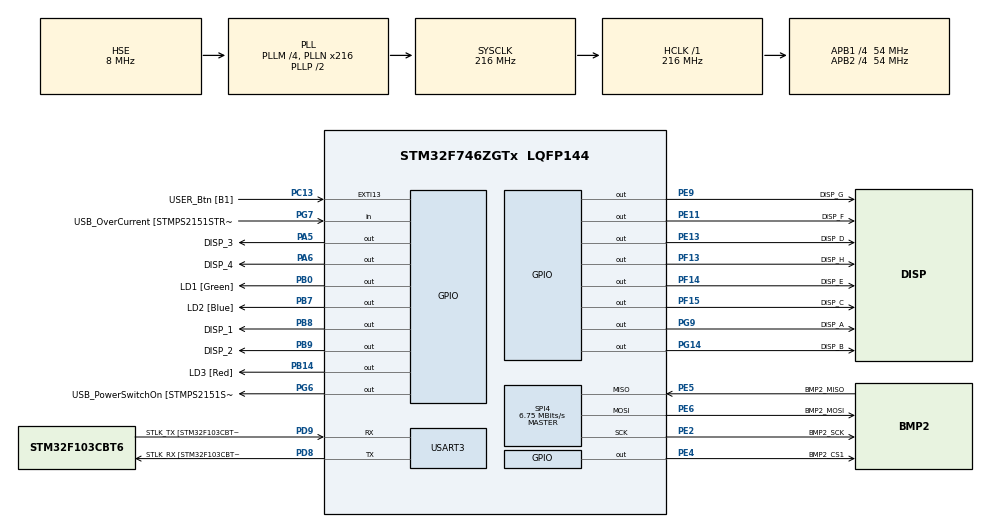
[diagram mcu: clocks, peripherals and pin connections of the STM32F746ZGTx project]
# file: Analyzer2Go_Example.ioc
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Mcu.Family=STM32F7
Mcu.Name=STM32F746ZGTx
Mcu.Package=LQFP144
NVIC.PriorityGroup=NVIC_PRIORITYGROUP_4
NVIC.TIM6_DAC_IRQn=true\:0\:0\:false\:false\:true\:true\:true
NVIC.TIM7_IRQn=true\:0\:0\:false\:false\:true\:true\:true
NVIC.USART3_IRQn=true\:0\:0\:false\:false\:true\:true\:true
PA1.GPIO_Label=RMII_REF_CLK [LAN8742A-CZ-TR_REFCLK0]
PA1.Signal=ETH_REF_CLK
PA10.GPIO_Label=USB_ID
PA10.Signal=USB_OTG_FS_ID
PA11.GPIO_Label=USB_DM
PA11.Signal=USB_OTG_FS_DM
PA12.GPIO_Label=USB_DP
PA12.Signal=USB_OTG_FS_DP
PA13.GPIO_Label=TMS
PA13.Mode=Serial_Wire
PA13.Signal=SYS_JTMS-SWDIO
PA14.GPIO_Label=TCK
PA14.Mode=Serial_Wire
PA14.Signal=SYS_JTCK-SWCLK
PA2.GPIO_Label=RMII_MDIO [LAN8742A-CZ-TR_MDIO]
PA2.Signal=ETH_MDIO
PA5.GPIO_Label=DISP_3
PA5.GPIO_ModeDefaultOutputPP=GPIO_MODE_OUTPUT_PP
PA5.GPIO_PuPd=GPIO_NOPULL
PA5.Signal=GPIO_Output
PA6.GPIO_Label=DISP_4
PA6.GPIO_ModeDefaultOutputPP=GPIO_MODE_OUTPUT_PP
PA6.GPIO_PuPd=GPIO_NOPULL
PA6.Signal=GPIO_Output
PA7.GPIO_Label=RMII_CRS_DV [LAN8742A-CZ-TR_CRS_DV]
PA7.Signal=ETH_CRS_DV
PA8.GPIO_Label=USB_SOF [TP1]
PA8.Signal=USB_OTG_FS_SOF
PA9.GPIO_Label=USB_VBUS
PA9.Signal=USB_OTG_FS_VBUS
PB0.GPIO_Label=LD1 [Green]
PB0.Signal=GPIO_Output
PB13.GPIO_Label=RMII_TXD1 [LAN8742A-CZ-TR_TXD1]
PB13.Signal=ETH_TXD1
PB14.GPIO_Label=LD3 [Red]
PB14.Signal=GPIO_Output
PB3.GPIO_Label=SW0
PB3.Signal=SYS_JTDO-SWO
PB7.GPIO_Label=LD2 [Blue]
PB7.Signal=GPIO_Output
PB8.GPIO_Label=DISP_1
PB8.GPIO_ModeDefaultOutputPP=GPIO_MODE_OUTPUT_PP
PB8.GPIO_PuPd=GPIO_NOPULL
PB8.Signal=GPIO_Output
PB9.GPIO_Label=DISP_2
PB9.GPIO_ModeDefaultOutputPP=GPIO_MODE_OUTPUT_PP
PB9.GPIO_PuPd=GPIO_NOPULL
PB9.Signal=GPIO_Output
PC1.GPIO_Label=RMII_MDC [LAN8742A-CZ-TR_MDC]
PC1.Signal=ETH_MDC
PC13.GPIO_Label=USER_Btn [B1]
PC13.Signal=GPXTI13
PC14/OSC32_IN.Mode=LSE-External-Oscillator
PC14/OSC32_IN.Signal=RCC_OSC32_IN
PC15/OSC32_OUT.Mode=LSE-External-Oscillator
PC15/OSC32_OUT.Signal=RCC_OSC32_OUT
PC4.GPIO_Label=RMII_RXD0 [LAN8742A-CZ-TR_RXD0]
PC4.Signal=ETH_RXD0
PC5.GPIO_Label=RMII_RXD1 [LAN8742A-CZ-TR_RXD1]
PC5.Signal=ETH_RXD1
PD8.GPIO_Label=STLK_RX [STM32F103CBT6_PA3]
PD8.Mode=Asynchronous
PD8.Signal=USART3_TX
PD9.GPIO_Label=STLK_TX [STM32F103CBT6_PA2]
PD9.Mode=Asynchronous
PD9.Signal=USART3_RX
PE11.GPIO_Label=DISP_F
PE11.GPIO_ModeDefaultOutputPP=GPIO_MODE_OUTPUT_OD
PE11.GPIO_PuPd=GPIO_PULLUP
PE11.Signal=GPIO_Output
PE13.GPIO_Label=DISP_D
PE13.GPIO_ModeDefaultOutputPP=GPIO_MODE_OUTPUT_OD
PE13.GPIO_PuPd=GPIO_PULLUP
PE13.Signal=GPIO_Output
PE2.GPIO_Label=BMP2_SCK
PE2.Mode=Full_Duplex_Master
PE2.Signal=SPI4_SCK
PE4.GPIO_Label=BMP2_CS1
PE4.GPIO_Speed=GPIO_SPEED_FREQ_VERY_HIGH
PE4.PinState=GPIO_PIN_SET
PE4.Signal=GPIO_Output
PE5.GPIO_Label=BMP2_MISO
PE5.Mode=Full_Duplex_Master
PE5.Signal=SPI4_MISO
PE6.GPIO_Label=BMP2_MOSI
PE6.Mode=Full_Duplex_Master
PE6.Signal=SPI4_MOSI
PE9.GPIO_Label=DISP_G
PE9.GPIO_ModeDefaultOutputPP=GPIO_MODE_OUTPUT_OD
PE9.GPIO_PuPd=GPIO_PULLUP
PE9.Signal=GPIO_Output
PF13.GPIO_Label=DISP_H
PF13.GPIO_ModeDefaultOutputPP=GPIO_MODE_OUTPUT_OD
PF13.GPIO_PuPd=GPIO_PULLUP
PF13.Signal=GPIO_Output
PF14.GPIO_Label=DISP_E
PF14.GPIO_ModeDefaultOutputPP=GPIO_MODE_OUTPUT_OD
PF14.GPIO_PuPd=GPIO_PULLUP
PF14.Signal=GPIO_Output
PF15.GPIO_Label=DISP_C
PF15.GPIO_ModeDefaultOutputPP=GPIO_MODE_OUTPUT_OD
PF15.GPIO_PuPd=GPIO_PULLUP
PF15.Signal=GPIO_Output
PG11.GPIO_Label=RMII_TX_EN [LAN8742A-CZ-TR_TXEN]
PG11.Signal=ETH_TX_EN
PG13.GPIO_Label=RMII_TXD0 [LAN8742A-CZ-TR_TXD0]
PG13.Signal=ETH_TXD0
PG14.GPIO_Label=DISP_B
PG14.GPIO_ModeDefaultOutputPP=GPIO_MODE_OUTPUT_OD
PG14.GPIO_PuPd=GPIO_PULLUP
PG14.Signal=GPIO_Output
PG6.GPIO_Label=USB_PowerSwitchOn [STMPS2151STR_EN]
PG6.Signal=GPIO_Output
PG7.GPIO_Label=USB_OverCurrent [STMPS2151STR_FAULT]
PG7.Signal=GPIO_Input
PG9.GPIO_Label=DISP_A
PG9.GPIO_ModeDefaultOutputPP=GPIO_MODE_OUTPUT_OD
PG9.GPIO_PuPd=GPIO_PULLUP
PG9.Signal=GPIO_Output
PH0/OSC_IN.GPIO_Label=MCO [STM32F103CBT6_PA8]
PH0/OSC_IN.Mode=HSE-External-Clock-Source
PH0/OSC_IN.Signal=RCC_OSC_IN
PH1/OSC_OUT.Mode=HSE-External-Clock-Source
PH1/OSC_OUT.Signal=RCC_OSC_OUT
ProjectManager.HeapSize=0x200
ProjectManager.StackSize=0x400
ProjectManager.TargetToolchain=STM32CubeIDE
RCC.48MHZClocksFreq_Value=24000000
RCC.AHBFreq_Value=216000000
RCC.APB1CLKDivider=RCC_HCLK_DIV4
RCC.APB1Freq_Value=54000000
RCC.APB1TimFreq_Value=108000000
RCC.APB2CLKDivider=RCC_HCLK_DIV4
RCC.APB2Freq_Value=54000000
RCC.APB2TimFreq_Value=108000000
RCC.CortexFreq_Value=216000000
RCC.HCLKFreq_Value=216000000
RCC.HSE_VALUE=8000000
RCC.HSI_VALUE=16000000
RCC.PLLM=4
RCC.PLLMUL=RCC_PLL_MUL9
RCC.PLLN=216
RCC.PLLQ=3
RCC.PLLSourceVirtual=RCC_PLLSOURCE_HSE
RCC.PRESCALERUSB=RCC_USBCLKSOURCE_PLL_DIV1_5
RCC.SYSCLKFreq_VALUE=216000000
RCC.SYSCLKSource=RCC_SYSCLKSOURCE_PLLCLK
RCC.SYSCLKSourceVirtual=RCC_SYSCLKSOURCE_PLLCLK
RCC.USBFreq_Value=144000000
RCC.VCOOutputFreq_Value=432000000
SPI4.BaudRatePrescaler=SPI_BAUDRATEPRESCALER_8
SPI4.CLKPhase=SPI_PHASE_2EDGE
SPI4.CLKPolarity=SPI_POLARITY_HIGH
SPI4.CalculateBaudRate=6.75 MBits/s
SPI4.DataSize=SPI_DATASIZE_8BIT
SPI4.Direction=SPI_DIRECTION_2LINES
SPI4.Mode=SPI_MODE_MASTER
SPI4.VirtualType=VM_MASTER
TIM6.Period=9999
TIM6.Prescaler=10799
TIM7.Period=999
TIM7.Prescaler=107
USART3.VirtualMode-Asynchronous=VM_ASYNC
VP_TIM6_VS_ClockSourceINT.Mode=Enable_Timer
VP_TIM7_VS_ClockSourceINT.Mode=Enable_Timer
board=NUCLEO-F746ZG

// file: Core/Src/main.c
/* USER CODE BEGIN Header */
/**
  ******************************************************************************
  * @file           : main.c
  * @brief          : Main program body
  ******************************************************************************
  * @attention
  *
  * Copyright (c) 2022 STMicroelectronics.
  * All rights reserved.
  *
  * This software is licensed under terms that can be found in the LICENSE file
  * in the root directory of this software component.
  * If no LICENSE file comes with this software, it is provided AS-IS.
  *
  ******************************************************************************
  */
/* USER CODE END Header */
#include "main.h"
#include "spi.h"
#include "tim.h"
#include "usart.h"
#include "gpio.h"

/* USER CODE BEGIN Includes */
#include <stdio.h>
#include "disp_config.h"
#include "bmp2_config.h"
/* USER CODE END Includes */

/* USER CODE BEGIN PV */
char RX_DATA[32];
const unsigned int MSG_SIZE = 4;
/* USER CODE END PV */

void SystemClock_Config(void);

/* USER CODE BEGIN 0 */

/**
  * @brief  Rx Transfer completed callback.
  * @param  huart UART handle.
  * @retval None
  */
void HAL_UART_RxCpltCallback(UART_HandleTypeDef *huart)
{
  if(huart == &huart3)
  {
	unsigned int number = 0;
    int status = sscanf(RX_DATA, "%u", &number);

    if(status == 1 && number >= 0 && number <= 9999)
      DISP_printDecUInt(&hdisp1, number);

    HAL_UART_Receive_IT(huart, (unsigned char*)RX_DATA, MSG_SIZE);
  }
}

/**
  * @brief  Period elapsed callback in non-blocking mode
  * @param  htim TIM handle
  * @retval None
  */
void HAL_TIM_PeriodElapsedCallback(TIM_HandleTypeDef *htim)
{
  if(htim == hdisp1.Timer)
  {
    DISP_ROUTINE(&hdisp1);
  }
}

/* USER CODE END 0 */

int main(void)
{

  /* MCU Configuration--------------------------------------------------------*/

  /* Reset of all peripherals, Initializes the Flash interface and the Systick. */
  HAL_Init();

  /* Configure the system clock */
  SystemClock_Config();

  /* Initialize all configured peripherals */
  MX_GPIO_Init();
  MX_USART3_UART_Init();
  MX_TIM7_Init();
  MX_TIM6_Init();
  MX_SPI4_Init();
  /* USER CODE BEGIN 2 */

  // Initialize BMP2 sensor
  if(BMP2_Init(&bmp2dev_1) != BMP2_OK)
	  HAL_GPIO_WritePin(LD2_GPIO_Port, LD2_Pin, GPIO_PIN_SET);

  // Initialize 7-segment display
  DISP_Init(&hdisp1);

  // Printing initial value
  DISP_printDecUInt(&hdisp1, 2500);

  /* USER CODE END 2 */

  /* Infinite loop */
  /* USER CODE BEGIN WHILE */
  while (1)
  {
	double temp = BMP2_ReadTemperature_degC(&bmp2dev_1);

	if(BMP2_ReadStatus(&bmp2dev_1) != BMP2_OK)
		HAL_GPIO_WritePin(LD3_GPIO_Port, LD3_Pin, GPIO_PIN_SET);
	else
		HAL_GPIO_WritePin(LD3_GPIO_Port, LD3_Pin, GPIO_PIN_RESET);

	char temp_str[32];
	int temp_str_len = sprintf(temp_str, "%.02f\n", temp);
	HAL_UART_Transmit(&huart3, (unsigned char*)temp_str, temp_str_len, 250);

	DISP_printDecUInt(&hdisp1, temp * 100);

	HAL_Delay(250);

    /* USER CODE END WHILE */

  }
}

void SystemClock_Config(void)
{
  RCC_OscInitTypeDef RCC_OscInitStruct = {0};
  RCC_ClkInitTypeDef RCC_ClkInitStruct = {0};

  /** Configure LSE Drive Capability
  */
  HAL_PWR_EnableBkUpAccess();
  /** Configure the main internal regulator output voltage
  */
  __HAL_RCC_PWR_CLK_ENABLE();
  __HAL_PWR_VOLTAGESCALING_CONFIG(PWR_REGULATOR_VOLTAGE_SCALE1);
  /** Initializes the RCC Oscillators according to the specified parameters
  * in the RCC_OscInitTypeDef structure.
  */
  RCC_OscInitStruct.OscillatorType = RCC_OSCILLATORTYPE_HSE;
  RCC_OscInitStruct.HSEState = RCC_HSE_BYPASS;
  RCC_OscInitStruct.PLL.PLLState = RCC_PLL_ON;
  RCC_OscInitStruct.PLL.PLLSource = RCC_PLLSOURCE_HSE;
  RCC_OscInitStruct.PLL.PLLM = 4;
  RCC_OscInitStruct.PLL.PLLN = 216;
  RCC_OscInitStruct.PLL.PLLP = RCC_PLLP_DIV2;
  RCC_OscInitStruct.PLL.PLLQ = 3;
  if (HAL_RCC_OscConfig(&RCC_OscInitStruct) != HAL_OK)
  {
    Error_Handler();
  }
  /** Activate the Over-Drive mode
  */
  if (HAL_PWREx_EnableOverDrive() != HAL_OK)
  {
    Error_Handler();
  }
  /** Initializes the CPU, AHB and APB buses clocks
  */
  RCC_ClkInitStruct.ClockType = RCC_CLOCKTYPE_HCLK|RCC_CLOCKTYPE_SYSCLK
                              |RCC_CLOCKTYPE_PCLK1|RCC_CLOCKTYPE_PCLK2;
  RCC_ClkInitStruct.SYSCLKSource = RCC_SYSCLKSOURCE_PLLCLK;
  RCC_ClkInitStruct.AHBCLKDivider = RCC_SYSCLK_DIV1;
  RCC_ClkInitStruct.APB1CLKDivider = RCC_HCLK_DIV4;
  RCC_ClkInitStruct.APB2CLKDivider = RCC_HCLK_DIV4;

  if (HAL_RCC_ClockConfig(&RCC_ClkInitStruct, FLASH_LATENCY_7) != HAL_OK)
  {
    Error_Handler();
  }
}

void Error_Handler(void)
{
  __disable_irq();
  while (1)
  {
  }
}
